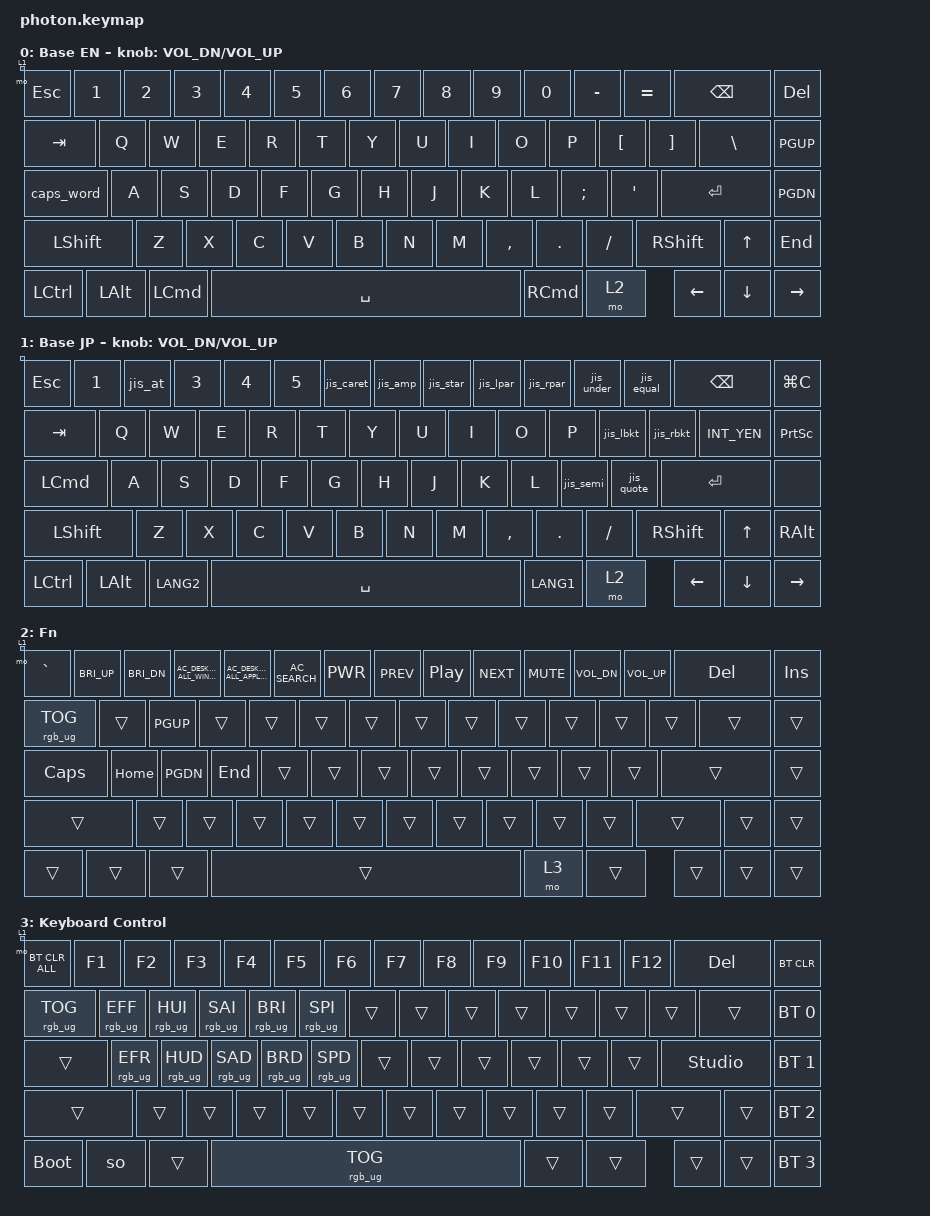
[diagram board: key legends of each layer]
/*
 * Copyright (c) 2024 CannonKeys LLC
 *
 * SPDX-License-Identifier: MIT
 */

#include <behaviors.dtsi>
#include <dt-bindings/zmk/keys.h>
#include <dt-bindings/zmk/rgb.h>
#include <dt-bindings/zmk/bt.h>

/ {
    behaviors {
        // ANSI-to-JIS Illusion: mod-morphs that make an ANSI-engraved board
        // type the engraved symbol on a host set to macOS JIS layout.
        // A morph suppresses the triggering shift; LS(...) re-adds it where
        // the JIS character is itself shifted.
        jis_under: japanese_underscore {
            compatible = "zmk,behavior-mod-morph";
            #binding-cells = <0>;
            bindings = <&kp MINUS>, <&kp INT_RO>;
            mods = <(MOD_LSFT|MOD_RSFT)>;
        };

        jis_at: jis_at {  // 2 / @
            compatible = "zmk,behavior-mod-morph";
            #binding-cells = <0>;
            bindings = <&kp N2>, <&kp LBKT>;
            mods = <(MOD_LSFT|MOD_RSFT)>;
        };

        jis_caret: jis_caret {  // 6 / ^
            compatible = "zmk,behavior-mod-morph";
            #binding-cells = <0>;
            bindings = <&kp N6>, <&kp EQUAL>;
            mods = <(MOD_LSFT|MOD_RSFT)>;
        };

        jis_amp: jis_amp {  // 7 / &
            compatible = "zmk,behavior-mod-morph";
            #binding-cells = <0>;
            bindings = <&kp N7>, <&kp LS(N6)>;
            mods = <(MOD_LSFT|MOD_RSFT)>;
        };

        jis_star: jis_star {  // 8 / *
            compatible = "zmk,behavior-mod-morph";
            #binding-cells = <0>;
            bindings = <&kp N8>, <&kp LS(SQT)>;
            mods = <(MOD_LSFT|MOD_RSFT)>;
        };

        jis_lpar: jis_lpar {  // 9 / (
            compatible = "zmk,behavior-mod-morph";
            #binding-cells = <0>;
            bindings = <&kp N9>, <&kp LS(N8)>;
            mods = <(MOD_LSFT|MOD_RSFT)>;
        };

        jis_rpar: jis_rpar {  // 0 / )
            compatible = "zmk,behavior-mod-morph";
            #binding-cells = <0>;
            bindings = <&kp N0>, <&kp LS(N9)>;
            mods = <(MOD_LSFT|MOD_RSFT)>;
        };

        jis_equal: jis_equal {  // = / +
            compatible = "zmk,behavior-mod-morph";
            #binding-cells = <0>;
            bindings = <&kp LS(MINUS)>, <&kp LS(SEMI)>;
            mods = <(MOD_LSFT|MOD_RSFT)>;
        };

        jis_lbkt: jis_lbkt {  // [ / {
            compatible = "zmk,behavior-mod-morph";
            #binding-cells = <0>;
            bindings = <&kp RBKT>, <&kp LS(RBKT)>;
            mods = <(MOD_LSFT|MOD_RSFT)>;
        };

        jis_rbkt: jis_rbkt {  // ] / }
            compatible = "zmk,behavior-mod-morph";
            #binding-cells = <0>;
            bindings = <&kp BSLH>, <&kp LS(BSLH)>;
            mods = <(MOD_LSFT|MOD_RSFT)>;
        };

        jis_semi: jis_semi {  // ; / :
            compatible = "zmk,behavior-mod-morph";
            #binding-cells = <0>;
            bindings = <&kp SEMI>, <&kp SQT>;
            mods = <(MOD_LSFT|MOD_RSFT)>;
        };

        jis_quote: jis_quote {  // ' / "
            compatible = "zmk,behavior-mod-morph";
            #binding-cells = <0>;
            bindings = <&kp LS(N7)>, <&kp LS(N2)>;
            mods = <(MOD_LSFT|MOD_RSFT)>;
        };

        // Deep power-off; hold guard prevents accidental presses.
        so: soft_off_hold {
            compatible = "zmk,behavior-soft-off";
            #binding-cells = <0>;
            hold-time-ms = <2000>;
        };
    };

    keymap {
        compatible = "zmk,keymap";

        english_base_layer {
            display-name = "Base EN";
            bindings = <
    &kp ESC    &kp N1    &kp N2    &kp N3    &kp N4    &kp N5    &kp N6    &kp N7    &kp N8    &kp N9    &kp N0    &kp MINUS  &kp EQUAL  &kp BSPC  &kp DEL
    &kp TAB    &kp Q     &kp W     &kp E     &kp R     &kp T     &kp Y     &kp U     &kp I     &kp O     &kp P     &kp LBKT   &kp RBKT   &kp BSLH  &kp PGUP
    &caps_word &kp A     &kp S     &kp D     &kp F     &kp G     &kp H     &kp J     &kp K     &kp L     &kp SEMI  &kp SQT               &kp RET   &kp PGDN
    &kp LSHFT            &kp Z     &kp X     &kp C     &kp V     &kp B     &kp N     &kp M     &kp COMMA &kp DOT   &kp FSLH   &kp RSHFT  &kp UP    &kp END
    &kp LCTRL  &kp LALT  &kp LCMD                                &kp SPACE                               &kp RCMD  &mo 2      &kp LEFT   &kp DOWN  &kp RIGHT
    &none &mo 1
                >;
            sensor-bindings = <&inc_dec_kp C_VOL_DN C_VOL_UP>;
        };

        japanese_base_layer {
            display-name = "Base JP";
            bindings = <
    &kp ESC    &kp N1    &jis_at   &kp N3    &kp N4    &kp N5    &jis_caret &jis_amp &jis_star &jis_lpar &jis_rpar &jis_under &jis_equal &kp BSPC    &kp LG(C)
    &kp TAB    &kp Q     &kp W     &kp E     &kp R     &kp T     &kp Y     &kp U     &kp I     &kp O     &kp P     &jis_lbkt  &jis_rbkt  &kp INT_YEN &kp PSCRN
    &kp LCMD   &kp A     &kp S     &kp D     &kp F     &kp G     &kp H     &kp J     &kp K     &kp L     &jis_semi &jis_quote            &kp RET     &none
    &kp LSHFT            &kp Z     &kp X     &kp C     &kp V     &kp B     &kp N     &kp M     &kp COMMA &kp DOT   &kp FSLH   &kp RSHFT  &kp UP      &kp RALT
    &kp LCTRL  &kp LALT  &kp LANG2                               &kp SPACE                               &kp LANG1 &mo 2      &kp LEFT   &kp DOWN    &kp RIGHT
    &none &none
                >;
            sensor-bindings = <&inc_dec_kp C_VOL_DN C_VOL_UP>;
        };

        function_layer {
            display-name = "Fn";
            bindings = <
    &kp GRAVE   &kp C_BRI_UP   &kp C_BRI_DN   &kp C_AC_DESKTOP_SHOW_ALL_WINDOWS   &kp C_AC_DESKTOP_SHOW_ALL_APPLICATIONS    &kp C_AC_SEARCH    &kp C_PWR    &kp C_PREV    &kp C_PP    &kp C_NEXT    &kp C_MUTE    &kp C_VOL_DN    &kp C_VOL_UP    &kp DEL    &kp INS
    &rgb_ug RGB_TOG   &trans   &kp PGUP   &trans &trans   &trans    &trans    &trans    &trans    &trans    &trans    &trans    &trans    &trans    &trans
    &kp CLCK &kp HOME   &kp PGDN   &kp END   &trans &trans    &trans    &trans    &trans    &trans    &trans    &trans              &trans    &trans
    &trans            &trans   &trans   &trans   &trans    &trans    &trans    &trans    &trans    &trans    &trans    &trans    &trans    &trans
    &trans   &trans   &trans                               &trans                                  &mo 3     &trans    &trans    &trans    &trans
    &none &mo 1
            >;
        };

        control_layer {
            display-name = "Keyboard Control";
            bindings = <
    &bt BT_CLR_ALL &kp F1    &kp F2    &kp F3    &kp F4    &kp F5    &kp F6    &kp F7    &kp F8    &kp F9    &kp F10   &kp F11   &kp F12   &kp DEL   &bt BT_CLR
    &rgb_ug RGB_TOG &rgb_ug RGB_EFF &rgb_ug RGB_HUI &rgb_ug RGB_SAI  &rgb_ug RGB_BRI &rgb_ug RGB_SPI &trans    &trans    &trans    &trans    &trans    &trans    &trans    &trans    &bt BT_SEL 0
    &trans          &rgb_ug RGB_EFR &rgb_ug RGB_HUD &rgb_ug RGB_SAD  &rgb_ug RGB_BRD &rgb_ug RGB_SPD &trans    &trans    &trans    &trans    &trans    &trans    &studio_unlock      &bt BT_SEL 1
    &trans                          &trans          &trans           &trans          &trans          &trans    &trans    &trans    &trans    &trans    &trans    &trans    &trans          &bt BT_SEL 2
    &bootloader     &so             &trans                                                           &rgb_ug RGB_TOG                         &trans    &trans    &trans    &trans          &bt BT_SEL 3
    &none &mo 1
            >;
        };

    };
};
